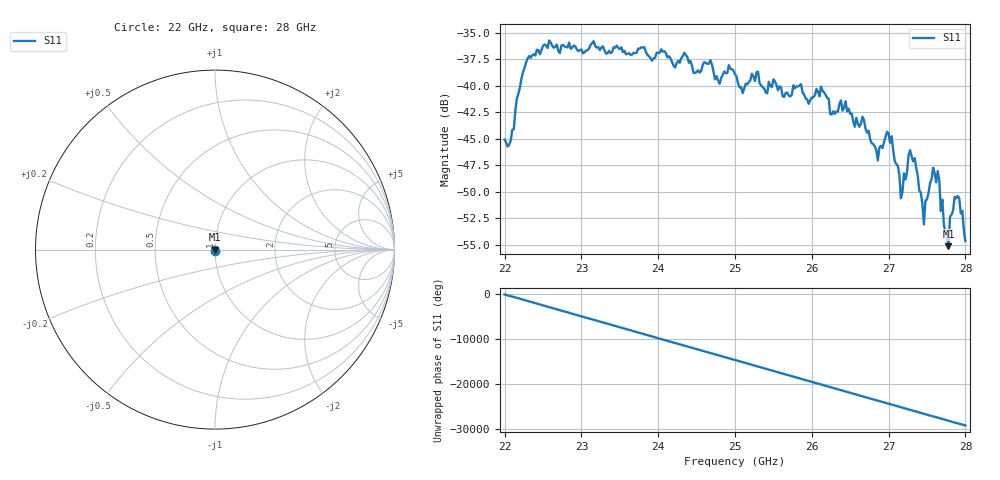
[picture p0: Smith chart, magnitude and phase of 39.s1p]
#  HZ  S  RI  R  50.00
! Rohde & Schwarz ZVA40 4Ports - Version 3.90 - 1145.1110k42 SN: 100403
! Date: 2023-10-04 10:38:40
! Measurement: S12
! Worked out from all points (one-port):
!   301 points, 22 GHz to 28 GHz, reference 50 ohm
!   lowest |S11| = -55.1 dB at 27.78 GHz (marker M1), VSWR 1.00, Z = 50.1 - j0.112 ohm
!   |S11| at or under -10 dB: start of sweep to end of sweep
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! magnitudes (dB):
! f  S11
! 22 GHz  -45.1
! 22.08 GHz  -45.2
! 22.3 GHz  -37.4
! 22.76 GHz  -36.1
! 23.5 GHz  -36.5
! 24.26 GHz  -37.7
! 25 GHz  -38.9
! 25.1 GHz  -40.7
! 25.3 GHz  -38.7
! 25.42 GHz  -40.7
! 25.76 GHz  -40.0
! 26.5 GHz  -42.6
! 26.66 GHz  -42.9
! 26.86 GHz  -47.0
! 27.04 GHz  -44.8
! 27.16 GHz  -50.6
! 27.26 GHz  -46.5
! 27.34 GHz  -46.8
! 27.46 GHz  -53.1
! 27.58 GHz  -47.7
! 27.64 GHz  -48.0
! 27.68 GHz  -51.8
! 27.7 GHz  -50.7
! 27.78 GHz  -55.1
! 27.8 GHz  -52.3
! 27.86 GHz  -50.5
! 27.92 GHz  -50.6
! 28 GHz  -54.6
